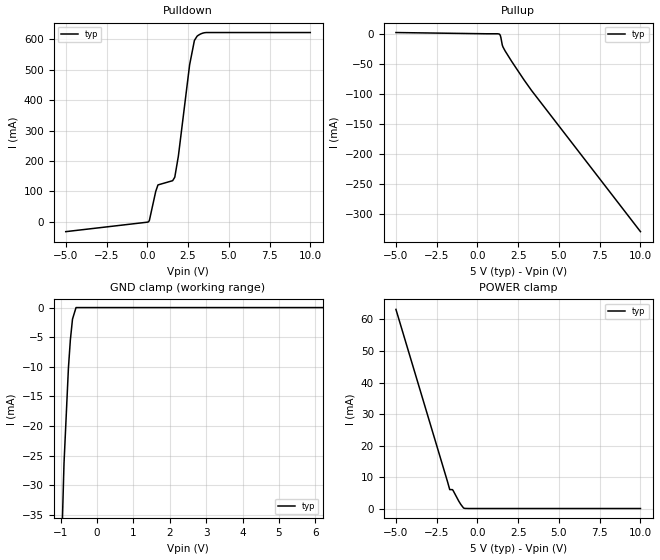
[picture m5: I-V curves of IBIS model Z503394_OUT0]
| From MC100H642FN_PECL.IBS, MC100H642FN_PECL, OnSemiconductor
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| (C) COPYRIGHT 1993-2000
| MENTOR GRAPHICS CORPORATION
| ICX STANDARD LIBRARY, ICX PROJECT MODELING,
| ICX CUSTOM MODELING, ICX VENDOR MODEL
| ALL RIGHTS RESERVED.
| THE FOLLOWING ARE TRADEMARKS OR SERVICE MARKS OF
| MENTOR GRAPHICS CORPORATION:ICX (R), ICX STANDARD
| LIBRARY(R), ICX PROJECT MODELING(R), ICX CUSTOM
| MODELING(R), qualityIBIS(TM), MODELVIEWER(TM),
| AND MODELEDITOR(TM)
| ALL COPIES OF SOFTWARE, INCLUDING BUT NOT LIMITED TO
| ANY MODIFICATIONS, ENHANCEMENTS OR DERIVATIVE WORKS,
| MUST CONTAIN ALL MENTOR GRAPHICS CORPORATION'S
| NOTICES AND LEGENDS, INCLUDING THOSE EMBEDDED IN
| SOFTWARE AND THOSE AFFIXED TO SOFTWARE MEDIUM
| AND CONTAINER, AS RECEIVED FROM MENTOR GRAPHICS
| CORPORATION.
| Model Application Version 1.89 2/18/99.
[Model] Z503394_OUT0
Model_type Output
Vref=2.500uV
Rref=500.0ohms
Cref=100.0pF
Vmeas=1.500V
C_comp 8.000pF NA NA
| variable typ   min   max
[Voltage Range] 5.000V NA NA
[POWER Clamp Reference] 5.000V NA NA
[Pullup Reference] 5.000V NA NA
[Pulldown Reference] 0.000V NA NA
[GND Clamp Reference] 0.000V NA NA
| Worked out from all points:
|   slope of the pulldown table from 0 to 0.75 V, typ, clamps not added: 6.04 ohm
|   slope of the pullup table from 0 to 0.75 V, typ, clamps not added: 3.78 kohm
|   GND clamp passes 1 mA (typ) near -0.63 V on its own axis
|   POWER clamp passes 1 mA (typ) near -0.98 V on its own axis
[GND Clamp]
-5V       -1.748A    NA         NA
-1.201V   -104.5mA   NA         NA
-1.073V   -61.58mA   NA         NA
-911.8mV  -26.36mA   NA         NA
-789.8mV  -10.17mA   NA         NA
-737.1mV  -5.479mA   NA         NA
-677.9mV  -1.949mA   NA         NA
-581.1mV  0A         NA         NA
10V       0A         NA         NA
[Pulldown]
-5V       -32.75mA   NA         NA
127.1mV   3.611mA    NA         NA
520.2mV   99.78mA    NA         NA
656.1mV   121.1mA    NA         NA
1.558V    135.1mA    NA         NA
1.688V    146.5mA    NA         NA
1.909V    216.2mA    NA         NA
2.599V    516.8mA    NA         NA
2.892V    596.8mA    NA         NA
3.057V    610.9mA    NA         NA
3.618V    622.9mA    NA         NA
10V       622.9mA    NA         NA
[Pullup]
-5V       1.975mA    NA         NA
1.362V    -1.05mA    NA         NA
1.401V    -2.752mA   NA         NA
1.436V    -6.183mA   NA         NA
1.523V    -18.75mA   NA         NA
1.689V    -28.3mA    NA         NA
2.852V    -76.69mA   NA         NA
3.311V    -94.27mA   NA         NA
10V       -329.6mA   NA         NA
[POWER Clamp]
-5V       63.2mA     NA         NA
-1.84V    8.587mA    NA         NA
-1.7V     6.001mA    NA         NA
-1.559V   6.001mA    NA         NA
-1.539V   5.99mA     NA         NA
-1.502V   5.805mA    NA         NA
-1.144V   2.321mA    NA         NA
-1.01V    1.22mA     NA         NA
-850mV    151.9uA    NA         NA
-767mV    31.34uA    NA         NA
-511.3mV  0A         NA         NA
10V       0A         NA         NA
[Ramp]
| variable typ min max
dV/dt_r 2.091/2.664n NA NA
dV/dt_f 2.091/1.183n NA NA
R_load = 500.0Ohms
